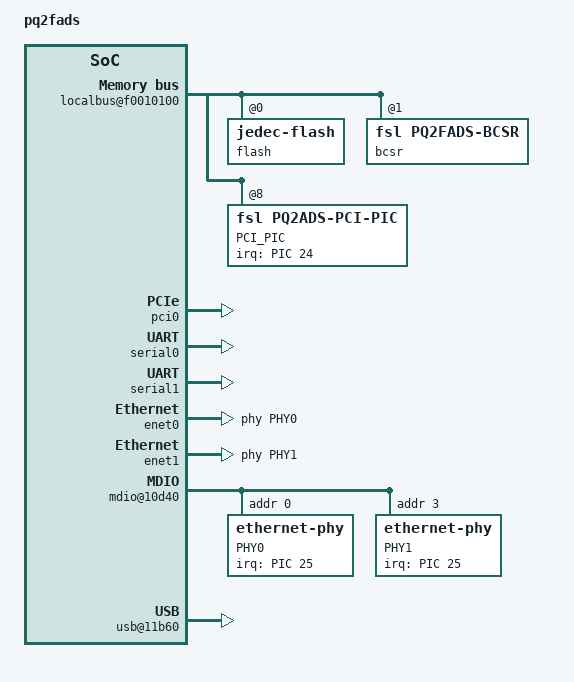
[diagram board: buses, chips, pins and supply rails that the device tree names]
/*
 * Device Tree for the PQ2FADS-ZU board with an MPC8280 chip.
 *
 * Copyright 2007,2008 Freescale Semiconductor Inc.
 *
 * This program is free software; you can redistribute  it and/or modify it
 * under  the terms of  the GNU General  Public License as published by the
 * Free Software Foundation;  either version 2 of the  License, or (at your
 * option) any later version.
 */

/dts-v1/;

/ {
	model = "pq2fads";
	compatible = "fsl,pq2fads";
	#address-cells = <1>;
	#size-cells = <1>;

	aliases {
		ethernet0 = &enet0;
		ethernet1 = &enet1;
		serial0 = &serial0;
		serial1 = &serial1;
		pci0 = &pci0;
	};

	cpus {
		#address-cells = <1>;
		#size-cells = <0>;

		cpu@0 {
			device_type = "cpu";
			reg = <0x0>;
			d-cache-line-size = <32>;
			i-cache-line-size = <32>;
			d-cache-size = <16384>;
			i-cache-size = <16384>;
			timebase-frequency = <0>;
			clock-frequency = <0>;
		};
	};

	memory {
		device_type = "memory";
		reg = <0x0 0x0>;
	};

	localbus@f0010100 {
		compatible = "fsl,mpc8280-localbus",
		             "fsl,pq2-localbus";
		#address-cells = <2>;
		#size-cells = <1>;
		reg = <0xf0010100 0x60>;

		ranges = <0x0 0x0 0xff800000 0x800000
		          0x1 0x0 0xf4500000 0x8000
		          0x8 0x0 0xf8200000 0x8000>;

		flash@0,0 {
			compatible = "jedec-flash";
			reg = <0x0 0x0 0x800000>;
			bank-width = <4>;
			device-width = <1>;
		};

		bcsr@1,0 {
			reg = <0x1 0x0 0x20>;
			compatible = "fsl,pq2fads-bcsr";
		};

		PCI_PIC: pic@8,0 {
			#interrupt-cells = <1>;
			interrupt-controller;
			reg = <0x8 0x0 0x8>;
			compatible = "fsl,pq2ads-pci-pic";
			interrupt-parent = <&PIC>;
			interrupts = <24 8>;
		};
	};

	pci0: pci@f0010800 {
		device_type = "pci";
		reg = <0xf0010800 0x10c 0xf00101ac 0x8 0xf00101c4 0x8>;
		compatible = "fsl,mpc8280-pci", "fsl,pq2-pci";
		#interrupt-cells = <1>;
		#size-cells = <2>;
		#address-cells = <3>;
		clock-frequency = <66000000>;
		interrupt-map-mask = <0xf800 0x0 0x0 0x7>;
		interrupt-map = <
		                /* IDSEL 0x16 */
		                 0xb000 0x0 0x0 0x1 &PCI_PIC 0
		                 0xb000 0x0 0x0 0x2 &PCI_PIC 1
		                 0xb000 0x0 0x0 0x3 &PCI_PIC 2
		                 0xb000 0x0 0x0 0x4 &PCI_PIC 3

		                /* IDSEL 0x17 */
		                 0xb800 0x0 0x0 0x1 &PCI_PIC 4
		                 0xb800 0x0 0x0 0x2 &PCI_PIC 5
		                 0xb800 0x0 0x0 0x3 &PCI_PIC 6
		                 0xb800 0x0 0x0 0x4 &PCI_PIC 7

		                /* IDSEL 0x18 */
		                 0xc000 0x0 0x0 0x1 &PCI_PIC 8
		                 0xc000 0x0 0x0 0x2 &PCI_PIC 9
		                 0xc000 0x0 0x0 0x3 &PCI_PIC 10
		                 0xc000 0x0 0x0 0x4 &PCI_PIC 11>;

		interrupt-parent = <&PIC>;
		interrupts = <18 8>;
		ranges = <0x42000000 0x0 0x80000000 0x80000000 0x0 0x20000000
		          0x2000000 0x0 0xa0000000 0xa0000000 0x0 0x20000000
		          0x1000000 0x0 0x0 0xf6000000 0x0 0x2000000>;
	};

	soc@f0000000 {
		#address-cells = <1>;
		#size-cells = <1>;
		device_type = "soc";
		compatible = "fsl,mpc8280", "fsl,pq2-soc";
		ranges = <0x0 0xf0000000 0x53000>;

		// Temporary -- will go away once kernel uses ranges for get_immrbase().
		reg = <0xf0000000 0x53000>;

		cpm@119c0 {
			#address-cells = <1>;
			#size-cells = <1>;
			#interrupt-cells = <2>;
			compatible = "fsl,mpc8280-cpm", "fsl,cpm2";
			reg = <0x119c0 0x30>;
			ranges;

			muram@0 {
				#address-cells = <1>;
				#size-cells = <1>;
				ranges = <0x0 0x0 0x10000>;

				data@0 {
					compatible = "fsl,cpm-muram-data";
					reg = <0x0 0x2000 0x9800 0x800>;
				};
			};

			brg@119f0 {
				compatible = "fsl,mpc8280-brg",
				             "fsl,cpm2-brg",
				             "fsl,cpm-brg";
				reg = <0x119f0 0x10 0x115f0 0x10>;
			};

			serial0: serial@11a00 {
				device_type = "serial";
				compatible = "fsl,mpc8280-scc-uart",
				             "fsl,cpm2-scc-uart";
				reg = <0x11a00 0x20 0x8000 0x100>;
				interrupts = <40 8>;
				interrupt-parent = <&PIC>;
				fsl,cpm-brg = <1>;
				fsl,cpm-command = <0x800000>;
			};

			serial1: serial@11a20 {
				device_type = "serial";
				compatible = "fsl,mpc8280-scc-uart",
				             "fsl,cpm2-scc-uart";
				reg = <0x11a20 0x20 0x8100 0x100>;
				interrupts = <41 8>;
				interrupt-parent = <&PIC>;
				fsl,cpm-brg = <2>;
				fsl,cpm-command = <0x4a00000>;
			};

			enet0: ethernet@11320 {
				device_type = "network";
				compatible = "fsl,mpc8280-fcc-enet",
				             "fsl,cpm2-fcc-enet";
				reg = <0x11320 0x20 0x8500 0x100 0x113b0 0x1>;
				interrupts = <33 8>;
				interrupt-parent = <&PIC>;
				phy-handle = <&PHY0>;
				linux,network-index = <0>;
				fsl,cpm-command = <0x16200300>;
			};

			enet1: ethernet@11340 {
				device_type = "network";
				compatible = "fsl,mpc8280-fcc-enet",
				             "fsl,cpm2-fcc-enet";
				reg = <0x11340 0x20 0x8600 0x100 0x113d0 0x1>;
				interrupts = <34 8>;
				interrupt-parent = <&PIC>;
				phy-handle = <&PHY1>;
				linux,network-index = <1>;
				fsl,cpm-command = <0x1a400300>;
				local-mac-address = [00 e0 0c 00 79 01];
			};

			mdio@10d40 {
				device_type = "mdio";
				compatible = "fsl,pq2fads-mdio-bitbang",
				             "fsl,mpc8280-mdio-bitbang",
				             "fsl,cpm2-mdio-bitbang";
				#address-cells = <1>;
				#size-cells = <0>;
				reg = <0x10d40 0x14>;
				fsl,mdio-pin = <9>;
				fsl,mdc-pin = <10>;

				PHY0: ethernet-phy@0 {
					interrupt-parent = <&PIC>;
					interrupts = <25 2>;
					reg = <0x0>;
					device_type = "ethernet-phy";
				};

				PHY1: ethernet-phy@1 {
					interrupt-parent = <&PIC>;
					interrupts = <25 2>;
					reg = <0x3>;
					device_type = "ethernet-phy";
				};
			};

			usb@11b60 {
				#address-cells = <1>;
				#size-cells = <0>;
				compatible = "fsl,mpc8280-usb",
				             "fsl,cpm2-usb";
				reg = <0x11b60 0x18 0x8b00 0x100>;
				interrupt-parent = <&PIC>;
				interrupts = <11 8>;
				fsl,cpm-command = <0x2e600000>;
			};
		};

		PIC: interrupt-controller@10c00 {
			#interrupt-cells = <2>;
			interrupt-controller;
			reg = <0x10c00 0x80>;
			compatible = "fsl,mpc8280-pic", "fsl,cpm2-pic";
		};

	};

	chosen {
		linux,stdout-path = "/soc/cpm/serial@11a00";
	};
};
